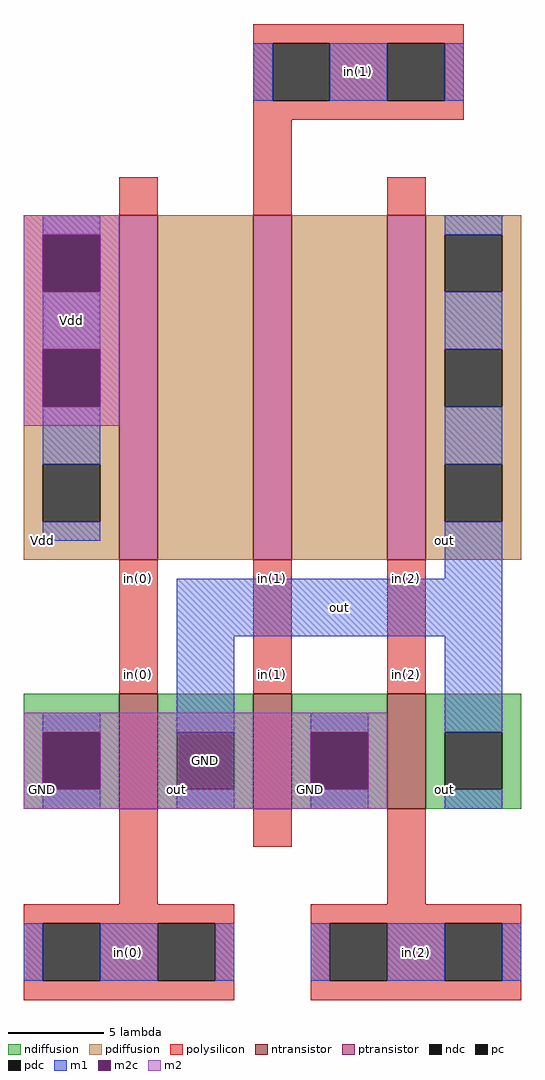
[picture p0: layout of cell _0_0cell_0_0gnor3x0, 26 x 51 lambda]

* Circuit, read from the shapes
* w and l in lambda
.subckt _0_0cell_0_0gnor3x0 Vdd in(0) in(1) in(2)
M1 out in(0) GND VSUBS nfet w=6 l=2
M2 GND in(1) out VSUBS nfet w=6 l=2
M3 out in(2) GND VSUBS nfet w=6 l=2
M4 n1 in(0) Vdd NWELL pfet w=18 l=2
M5 n2 in(1) n1 NWELL pfet w=18 l=2
M6 out in(2) n2 NWELL pfet w=18 l=2
.ends

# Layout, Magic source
magic
tech sky130l
<< ndiffusion >>
rect 8 10 13 12
rect 8 7 9 10
rect 12 7 13 10
rect 8 6 13 7
rect 15 10 20 12
rect 15 7 16 10
rect 19 7 20 10
rect 15 6 20 7
rect 22 10 27 12
rect 22 7 23 10
rect 26 7 27 10
rect 22 6 27 7
rect 29 10 34 12
rect 29 7 30 10
rect 33 7 34 10
rect 29 6 34 7
<< ndc >>
rect 9 7 12 10
rect 16 7 19 10
rect 23 7 26 10
rect 30 7 33 10
<< ntransistor >>
rect 13 6 15 12
rect 20 6 22 12
rect 27 6 29 12
<< pdiffusion >>
rect 8 36 13 37
rect 8 33 9 36
rect 12 33 13 36
rect 8 30 13 33
rect 8 27 9 30
rect 12 27 13 30
rect 8 24 13 27
rect 8 21 9 24
rect 12 21 13 24
rect 8 19 13 21
rect 15 19 20 37
rect 22 19 27 37
rect 29 36 34 37
rect 29 33 30 36
rect 33 33 34 36
rect 29 30 34 33
rect 29 27 30 30
rect 33 27 34 30
rect 29 24 34 27
rect 29 21 30 24
rect 33 21 34 24
rect 29 19 34 21
<< pdc >>
rect 9 33 12 36
rect 9 27 12 30
rect 9 21 12 24
rect 30 33 33 36
rect 30 27 33 30
rect 30 21 33 24
<< ptransistor >>
rect 13 19 15 37
rect 20 19 22 37
rect 27 19 29 37
<< polysilicon >>
rect 20 46 31 47
rect 20 43 21 46
rect 24 43 27 46
rect 30 43 31 46
rect 20 42 31 43
rect 13 37 15 39
rect 20 37 22 42
rect 27 37 29 39
rect 13 12 15 19
rect 20 12 22 19
rect 27 12 29 19
rect 13 1 15 6
rect 20 4 22 6
rect 27 1 29 6
rect 8 0 19 1
rect 8 -3 9 0
rect 12 -3 15 0
rect 18 -3 19 0
rect 8 -4 19 -3
rect 23 0 34 1
rect 23 -3 24 0
rect 27 -3 30 0
rect 33 -3 34 0
rect 23 -4 34 -3
<< pc >>
rect 21 43 24 46
rect 27 43 30 46
rect 9 -3 12 0
rect 15 -3 18 0
rect 24 -3 27 0
rect 30 -3 33 0
<< m1 >>
rect 20 43 21 46
rect 24 43 27 46
rect 30 43 31 46
rect 9 36 12 37
rect 9 30 12 33
rect 9 24 12 27
rect 9 20 12 21
rect 30 36 33 37
rect 30 30 33 33
rect 30 24 33 27
rect 30 18 33 21
rect 16 15 33 18
rect 9 10 12 11
rect 9 6 12 7
rect 16 10 19 15
rect 16 6 19 7
rect 23 10 26 11
rect 23 6 26 7
rect 30 10 33 15
rect 30 6 33 7
rect 8 -3 9 0
rect 12 -3 15 0
rect 18 -3 19 0
rect 23 -3 24 0
rect 27 -3 30 0
rect 33 -3 34 0
<< m2c >>
rect 9 33 12 36
rect 9 27 12 30
rect 9 7 12 10
rect 23 7 26 10
<< m2 >>
rect 8 36 13 37
rect 8 33 9 36
rect 12 33 13 36
rect 8 30 13 33
rect 8 27 9 30
rect 12 27 13 30
rect 8 26 13 27
rect 8 10 27 11
rect 8 7 9 10
rect 12 7 23 10
rect 26 7 27 10
rect 8 6 27 7
<< labels >>
rlabel ndiffusion 30 7 30 7 3 out
rlabel pdiffusion 30 20 30 20 3 out
rlabel polysilicon 28 13 28 13 3 in(2)
rlabel polysilicon 28 18 28 18 3 in(2)
rlabel ndiffusion 23 7 23 7 3 GND
rlabel polysilicon 21 13 21 13 3 in(1)
rlabel polysilicon 21 18 21 18 3 in(1)
rlabel ndiffusion 16 7 16 7 3 out
rlabel polysilicon 14 13 14 13 3 in(0)
rlabel polysilicon 14 18 14 18 3 in(0)
rlabel ndiffusion 9 7 9 7 3 GND
rlabel pdiffusion 9 20 9 20 3 Vdd
flabel m2 8 26 13 37 0 FreeSans 11 0 0 0 Vdd
port 1 nsew
flabel m2 8 6 27 11 0 FreeSans 11 0 0 0 GND
flabel m1 8 -3 19 0 0 FreeSans 11 0 0 0 in(0)
port 3 nsew
flabel m1 20 43 31 46 0 FreeSans 11 0 0 0 in(1)
port 4 nsew
flabel m1 23 -3 34 0 0 FreeSans 11 0 0 0 in(2)
port 5 nsew
flabel m1 16 15 33 18 0 FreeSans 11 0 0 0 out
<< end >>
